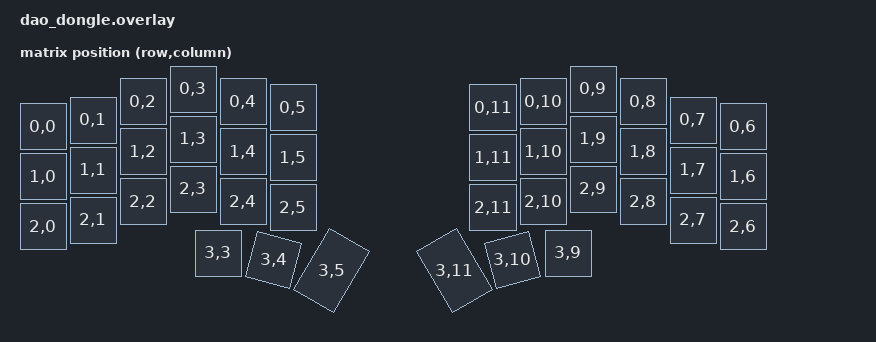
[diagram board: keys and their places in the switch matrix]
#include <dt-bindings/zmk/matrix_transform.h>

/ {
    chosen {
        zmk,kscan = &mock_kscan;
        zmk,matrix-transform = <&default_transform>; 
    };

    mock_kscan: kscan_0 {
        compatible = "zmk,kscan-mock";
        columns = <0>;
        rows = <0>;
        events = <0>;
    };

    default_transform: keymap_transform_0 {
	compatible = "zmk,matrix-transform";
	columns = <12>;
	rows = <4>;

	// | SW1  | SW2  | SW3  | SW4  | SW5  | SW6  |   | SW6  | SW5  | SW4  | SW3  | SW2  | SW1  |
	// | SW7  | SW8  | SW9  | SW10 | SW11 | SW12 |   | SW12 | SW11 | SW10 | SW9  | SW8  | SW7  |
	// | SW13 | SW14 | SW15 | SW16 | SW17 | SW18 |   | SW18 | SW17 | SW16 | SW15 | SW14 | SW13 |
	// |      |      |      | SW20 | SW21 | SW22 |   | SW22 | SW21 | SW20 |      |      |      |
	map = <
	    RC(0,0) RC(0,1) RC(0,2) RC(0,3) RC(0,4) RC(0,5)  RC(0,11) RC(0,10) RC(0,9) RC(0,8) RC(0,7) RC(0,6)
	    RC(1,0) RC(1,1) RC(1,2) RC(1,3) RC(1,4) RC(1,5)  RC(1,11) RC(1,10) RC(1,9) RC(1,8) RC(1,7) RC(1,6)
	    RC(2,0) RC(2,1) RC(2,2) RC(2,3) RC(2,4) RC(2,5)  RC(2,11) RC(2,10) RC(2,9) RC(2,8) RC(2,7) RC(2,6)
	    RC(3,3) RC(3,4) RC(3,5)  RC(3,11) RC(3,10) RC(3,9)
	>;
    };

    dao_crkbd_layout: dao_crkbd_layout {
	compatible = "zmk,physical-layout";
	display-name = "Dao";

	keys  //                 w   h    x    y     rot    rx    ry
	= <&key_physical_attrs 100 100    0   75       0     0     0>
	, <&key_physical_attrs 100 100  100   62       0     0     0>
	, <&key_physical_attrs 100 100  200   25       0     0     0>
	, <&key_physical_attrs 100 100  300    0       0     0     0>
	, <&key_physical_attrs 100 100  400   25       0     0     0>
	, <&key_physical_attrs 100 100  500   37       0     0     0>
	, <&key_physical_attrs 100 100  900   37       0     0     0>
	, <&key_physical_attrs 100 100 1000   25       0     0     0>
	, <&key_physical_attrs 100 100 1100    0       0     0     0>
	, <&key_physical_attrs 100 100 1200   25       0     0     0>
	, <&key_physical_attrs 100 100 1300   62       0     0     0>
	, <&key_physical_attrs 100 100 1400   75       0     0     0>
	, <&key_physical_attrs 100 100    0  175       0     0     0>
	, <&key_physical_attrs 100 100  100  162       0     0     0>
	, <&key_physical_attrs 100 100  200  125       0     0     0>
	, <&key_physical_attrs 100 100  300  100       0     0     0>
	, <&key_physical_attrs 100 100  400  125       0     0     0>
	, <&key_physical_attrs 100 100  500  137       0     0     0>
	, <&key_physical_attrs 100 100  900  137       0     0     0>
	, <&key_physical_attrs 100 100 1000  125       0     0     0>
	, <&key_physical_attrs 100 100 1100  100       0     0     0>
	, <&key_physical_attrs 100 100 1200  125       0     0     0>
	, <&key_physical_attrs 100 100 1300  162       0     0     0>
	, <&key_physical_attrs 100 100 1400  175       0     0     0>
	, <&key_physical_attrs 100 100    0  275       0     0     0>
	, <&key_physical_attrs 100 100  100  262       0     0     0>
	, <&key_physical_attrs 100 100  200  225       0     0     0>
	, <&key_physical_attrs 100 100  300  200       0     0     0>
	, <&key_physical_attrs 100 100  400  225       0     0     0>
	, <&key_physical_attrs 100 100  500  237       0     0     0>
	, <&key_physical_attrs 100 100  900  237       0     0     0>
	, <&key_physical_attrs 100 100 1000  225       0     0     0>
	, <&key_physical_attrs 100 100 1100  200       0     0     0>
	, <&key_physical_attrs 100 100 1200  225       0     0     0>
	, <&key_physical_attrs 100 100 1300  262       0     0     0>
	, <&key_physical_attrs 100 100 1400  275       0     0     0>
	, <&key_physical_attrs 100 100  350  328       0     0     0>
	, <&key_physical_attrs 100 100  461  342    1500   511   392>
	, <&key_physical_attrs 100 150  577  338    3000   627   413>
	, <&key_physical_attrs 100 150  823  338 (-3000)   873   413>
	, <&key_physical_attrs 100 100  939  342 (-1500)   989   392>
	, <&key_physical_attrs 100 100 1050  328       0     0     0>
	;
    };
};
